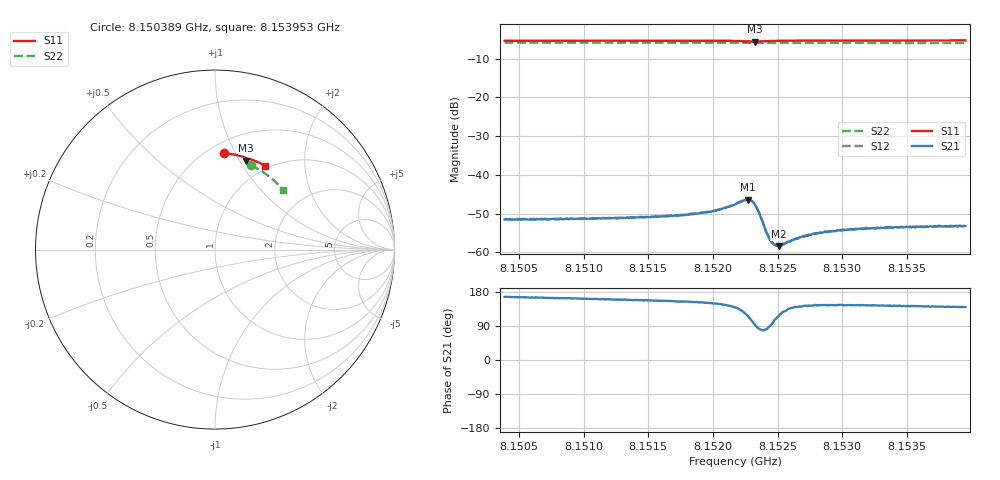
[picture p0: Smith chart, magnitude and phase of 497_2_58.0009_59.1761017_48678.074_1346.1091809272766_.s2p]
#  HZ  S  RI  R  50.00
! Rohde & Schwarz Vector Network Analyzer
! Rohde-Schwarz,ZNB20-2Port,1311601062101988,3.16
! Created: UTC 3/21/2024, 1:12:37 AM
! freq[Hz]  re:S11  im:S11  re:S21  im:S21  re:S12  im:S12  re:S22  im:S22
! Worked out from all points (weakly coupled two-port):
!   401 points, 8.150389 GHz to 8.153953 GHz, reference 50 ohm
!   highest |S21| = -46.38 dB at 8.152269 GHz (marker M1); lowest = -58.4 dB at 8.15251 GHz (marker M2)
!   lowest |S11| = -5.6 dB at 8.152323 GHz (marker M3), VSWR 3.21, Z = 39.1 + j53.4 ohm
!   |S11| at or under -10 dB: nowhere
!   |S22| runs from -5.9 to -5.9 dB; largest |S21 - S12| = 0.00012
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8.1503888e9  0.0498 0.5364  -0.00258 0.000619  -0.00261 0.000682  0.1994 0.469
8.1509858e9  0.0914 0.5319  -0.0026 0.00084  -0.00259 0.000865  0.2336 0.452
8.1515829e9  0.1328 0.5238  -0.00264 0.00116  -0.00265 0.0012  0.2665 0.4325
8.1517344e9  0.1434 0.5211  -0.00268 0.00129  -0.00272 0.00135  0.2745 0.4271
8.1519304e9  0.1575 0.517  -0.00287 0.00155  -0.00285 0.00159  0.2848 0.4198
8.1520463e9  0.1664 0.5136  -0.003 0.00189  -0.003 0.00195  0.2908 0.4154
8.152171e9  0.1762 0.5074  -0.00312 0.00274  -0.00313 0.00282  0.2971 0.4105
8.1522245e9  0.1796 0.5024  -0.00292 0.00352  -0.00285 0.00355  0.2995 0.4084
8.152269e9  0.1795 0.4971  -0.00215 0.00429  -0.00208 0.00433  0.3016 0.4066
8.1522958e9  0.1773 0.4949  -0.00125 0.00449  -0.00128 0.00449  0.303 0.4055
8.1523225e9  0.1743 0.4947  -0.0003 0.00419  -0.000253 0.00421  0.3041 0.4045
8.1523582e9  0.172 0.4982  0.000447 0.00318  0.000475 0.00319  0.3058 0.4033
8.1524116e9  0.175 0.5033  0.000269 0.00183  0.000313 0.00183  0.3084 0.4015
8.1524384e9  0.1776 0.5048  3.39e-05 0.00148  6.63e-05 0.0015  0.31 0.4004
8.1524562e9  0.1795 0.5053  -0.000132 0.00135  -0.000106 0.00132  0.3109 0.3998
8.152474e9  0.1812 0.5056  -0.000321 0.00123  -0.000285 0.00122  0.3116 0.3991
8.1525096e9  0.1846 0.5058  -0.00052 0.00108  -0.000578 0.00106  0.3134 0.3977
8.152679e9  0.1988 0.5031  -0.00122 0.000986  -0.00124 0.00101  0.3219 0.3907
8.1527681e9  0.2053 0.5011  -0.00138 0.00102  -0.00135 0.00105  0.326 0.3869
8.1529819e9  0.2201 0.4956  -0.00159 0.0011  -0.00156 0.00114  0.3361 0.3778
8.1533651e9  0.2451 0.4846  -0.00167 0.00127  -0.00169 0.00127  0.3534 0.3609
8.1539533e9  0.2813 0.4656  -0.00167 0.00142  -0.00166 0.00146  0.3781 0.3334
